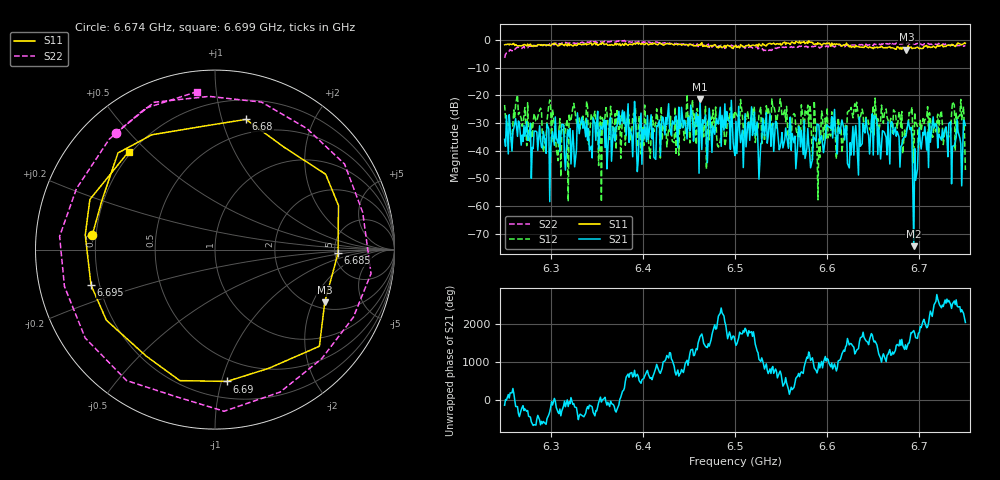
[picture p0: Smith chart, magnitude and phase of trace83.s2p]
# Hz S RI R 50
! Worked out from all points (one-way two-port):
!   401 points, 6.25 GHz to 6.75 GHz, reference 50 ohm
!   highest |S21| = -21.31 dB at 6.462 GHz (marker M1); lowest = -74.5 dB at 6.694 GHz (marker M2)
!   lowest |S11| = -3.4 dB at 6.686 GHz (marker M3), VSWR 5.22, Z = 114 - j124 ohm
!   |S11| at or under -10 dB: nowhere
!   |S22| runs from -6.4 to -0.1 dB; largest |S21 - S12| = 0.12
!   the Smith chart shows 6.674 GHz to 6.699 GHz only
!   S11 on the Smith chart (normalised r, x): 6.674 GHz: 0.18, +0.06; 6.68 GHz: 0.37, +1.20; 6.685 GHz: 5.33, -0.41; 6.69 GHz: 0.32, -1.04; 6.695 GHz: 0.17, -0.14; 6.699 GHz: 0.19, +0.44
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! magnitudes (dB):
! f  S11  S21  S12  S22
! 6.25 GHz  -1.7  -35.9  -23.4  -6.4
! 6.3 GHz  -2.1  -39.0  -24.4  -1.7
! 6.309 GHz  -2.0  -32.8  -32.2  -1.2
! 6.334 GHz  -1.7  -27.8  -28.7  -0.7
! 6.418 GHz  -1.1  -28.9  -31.9  -1.0
! 6.462 GHz  -1.8  -21.3  -27.6  -1.6
! 6.491 GHz  -2.0  -25.8  -33.0  -2.1
! 6.5 GHz  -2.3  -41.7  -25.5  -2.4
! 6.584 GHz  -0.8  -43.2  -43.2  -2.2
! 6.59 GHz  -0.9  -30.5  -57.8  -2.2
! 6.63 GHz  -2.7  -34.0  -23.0  -1.6
! 6.668 GHz  -2.4  -44.8  -30.0  -1.3
! 6.674 GHz  -3.2  -31.5  -26.1  -1.4
! 6.68 GHz  -2.5  -38.5  -31.5  -1.3
! 6.685 GHz  -3.3  -35.1  -34.8  -1.4
! 6.686 GHz  -3.4  -33.8  -32.2  -1.2
! 6.69 GHz  -2.6  -32.3  -26.8  -1.1
! 6.694 GHz  -2.8  -74.5  -44.3  -1.2
! 6.695 GHz  -2.9  -39.2  -26.1  -1.5
! 6.699 GHz  -2.8  -36.7  -38.9  -1.1
! 6.745 GHz  -1.4  -37.4  -21.4  -1.8
! 6.75 GHz  -1.1  -30.9  -47.0  -1.9
